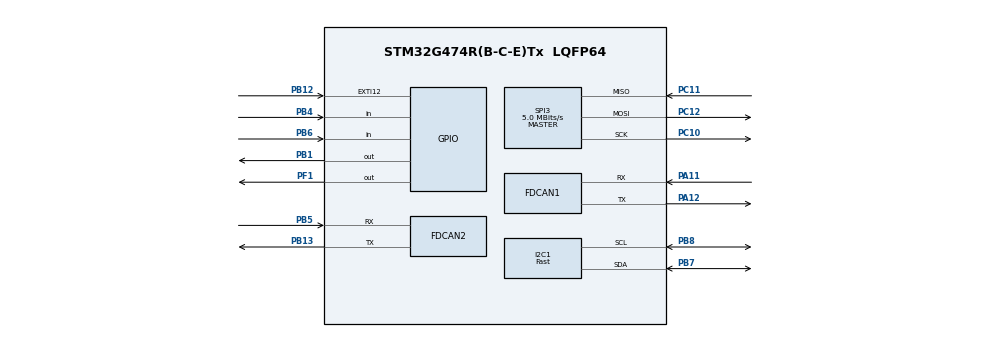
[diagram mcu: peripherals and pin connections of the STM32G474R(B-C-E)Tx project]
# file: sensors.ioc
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CRC.DefaultPolynomialUse=DEFAULT_POLYNOMIAL_ENABLE
FDCAN1.CalculateBaudRateNominal=3333333
FDCAN1.CalculateTimeBitNominal=300
FDCAN1.CalculateTimeQuantumNominal=100.0
FDCAN2.CalculateBaudRateNominal=3333333
FDCAN2.CalculateTimeBitNominal=300
FDCAN2.CalculateTimeQuantumNominal=100.0
I2C1.I2C_Speed_Mode=I2C_Fast
I2C1.Timing=0x10F32A82
Mcu.Family=STM32G4
Mcu.Name=STM32G474R(B-C-E)Tx
Mcu.Package=LQFP64
NVIC.PriorityGroup=NVIC_PRIORITYGROUP_4
NVIC.TIM1_UP_TIM16_IRQn=true\:15\:0\:false\:false\:true\:false\:true\:true
NVIC.TimeBase=TIM1_UP_TIM16_IRQn
NVIC.TimeBaseIP=TIM1
PA11.Mode=FDCAN_Activate
PA11.Signal=FDCAN1_RX
PA12.Mode=FDCAN_Activate
PA12.Signal=FDCAN1_TX
PA13.Mode=Trace_Asynchronous_SW
PA13.Signal=SYS_JTMS-SWDIO
PA14.Mode=Trace_Asynchronous_SW
PA14.Signal=SYS_JTCK-SWCLK
PB1.Signal=GPIO_Output
PB12.Signal=GPXTI12
PB13.Mode=FDCAN_Activate
PB13.Signal=FDCAN2_TX
PB3.Mode=Trace_Asynchronous_SW
PB3.Signal=SYS_JTDO-SWO
PB4.Signal=GPIO_Input
PB5.Mode=FDCAN_Activate
PB5.Signal=FDCAN2_RX
PB6.Signal=GPIO_Input
PB7.Mode=I2C
PB7.Signal=I2C1_SDA
PB8-BOOT0.Mode=I2C
PB8-BOOT0.Signal=I2C1_SCL
PC10.Mode=Full_Duplex_Master
PC10.Signal=SPI3_SCK
PC11.Mode=Full_Duplex_Master
PC11.Signal=SPI3_MISO
PC12.Mode=Full_Duplex_Master
PC12.Signal=SPI3_MOSI
PC8.Signal=I2C3_SCL
PC9.Signal=I2C3_SDA
PF0-OSC_IN.Mode=HSE-External-Clock-Source
PF0-OSC_IN.Signal=RCC_OSC_IN
PF1-OSC_OUT.Signal=GPIO_Output
ProjectManager.HeapSize=0x200
ProjectManager.StackSize=0x400
ProjectManager.TargetToolchain=CMake
RCC.ADC12Freq_Value=160000000
RCC.ADC345Freq_Value=160000000
RCC.AHBFreq_Value=160000000
RCC.APB1Freq_Value=160000000
RCC.APB1TimFreq_Value=160000000
RCC.APB2Freq_Value=160000000
RCC.APB2TimFreq_Value=160000000
RCC.CortexFreq_Value=160000000
RCC.EXTERNAL_CLOCK_VALUE=12288000
RCC.HCLKFreq_Value=160000000
RCC.HSE_VALUE=8000000
RCC.HSI48_VALUE=48000000
RCC.HSI_VALUE=16000000
RCC.I2C2CLockSelection=RCC_I2C2CLKSOURCE_SYSCLK
RCC.I2C3CLockSelection=RCC_I2C3CLKSOURCE_SYSCLK
RCC.I2C4CLockSelection=RCC_I2C4CLKSOURCE_SYSCLK
RCC.LSE_VALUE=32768
RCC.PLLN=40
RCC.PLLSourceVirtual=RCC_PLLSOURCE_HSE
RCC.SYSCLKFreq_VALUE=160000000
RCC.SYSCLKSource=RCC_SYSCLKSOURCE_PLLCLK
RCC.USBFreq_Value=160000000
RCC.VCOOutputFreq_Value=320000000
SPI3.BaudRatePrescaler=SPI_BAUDRATEPRESCALER_32
SPI3.CalculateBaudRate=5.0 MBits/s
SPI3.DataSize=SPI_DATASIZE_8BIT
SPI3.Direction=SPI_DIRECTION_2LINES
SPI3.Mode=SPI_MODE_MASTER
SPI3.VirtualType=VM_MASTER
VP_CRC_VS_CRC.Mode=CRC_Activate
VP_SYS_VS_DBSignals.Mode=DisableDeadBatterySignals
VP_SYS_VS_tim1.Mode=TIM1
board=custom

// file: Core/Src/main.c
/* USER CODE BEGIN Header */
/**
  ******************************************************************************
  * @file           : main.c
  * @brief          : Main program body
  ******************************************************************************
  * @attention
  *
  * Copyright (c) 2024 STMicroelectronics.
  * All rights reserved.
  *
  * This software is licensed under terms that can be found in the LICENSE file
  * in the root directory of this software component.
  * If no LICENSE file comes with this software, it is provided AS-IS.
  *
  ******************************************************************************
  */
/* USER CODE END Header */
#include "main.h"
#include "crc.h"
#include "fdcan.h"
#include "i2c.h"
#include "spi.h"
#include "gpio.h"

/* USER CODE BEGIN Includes */
#include <stdio.h>
#include <math.h>
// #include "VL53L4ED_api.h"
#include "Aspeed.h"
//#include "circularBuffer.h"
/* USER CODE END Includes */

/* USER CODE BEGIN PD */
#ifdef __GNUC__
#define PUTCHAR_PROTOTYPE int __io_putchar(int ch)
#else
#define PUTCHAR_PROTOTYPE int fputc(int ch, FILE *f)
#endif
/* USER CODE END PD */

/* USER CODE BEGIN PM */
PUTCHAR_PROTOTYPE
{
  ITM_SendChar(ch);
  return ch;
}
//CircularBuffer *cb;
/* USER CODE END PM */

/* USER CODE BEGIN PV */
// FDCAN_RxHeaderTypeDef RxHeader_FDCAN2;
/* USER CODE END PV */

void SystemClock_Config(void);

/* USER CODE BEGIN 0 */
/*
I2C2 - is meant for thermal sensor MLX90640 and is ran using DMA to offload CPU for calculations
     - still need to fully test but ideally implmentation is done

 */
/* USER CODE END 0 */

int main(void)
{

  /* USER CODE BEGIN 1 */
  //cb = circular_buffer_init(64, 68 * sizeof(uint8_t));
  /* USER CODE END 1 */

  /* MCU Configuration--------------------------------------------------------*/

  /* Reset of all peripherals, Initializes the Flash interface and the Systick. */
  HAL_Init();

  /* Configure the system clock */
  SystemClock_Config();

  /* Initialize all configured peripherals */
  MX_GPIO_Init();
  MX_CRC_Init();
  MX_FDCAN1_Init();
  MX_FDCAN2_Init();
  MX_I2C1_Init();
  MX_SPI3_Init();
  /* USER CODE BEGIN 2 */

  // HAL_FDCAN_Start(&hfdcan1);
  // HAL_FDCAN_Start(&hfdcan2);
  // HAL_FDCAN_ActivateNotification(&hfdcan1, FDCAN_IT_RX_FIFO0_NEW_MESSAGE, 0);
  // HAL_FDCAN_ActivateNotification(&hfdcan2, FDCAN_IT_RX_FIFO0_NEW_MESSAGE, 0);

  // static uint16_t eeMLX90640[832];
  // static paramsMLX90640 mlx90640;
  // #define MLX90640_ADDRESS 0x33<<1
  // MLX90640_DumpEE(MLX90640_ADDRESS, eeMLX90640);

  // MLX90640_ExtractParameters(eeMLX90640, &mlx90640);

  // MLX90640_SetRefreshRate(MLX90640_ADDRESS, 0x05);

  // MLX90640_SynchFrame(MLX90640_ADDRESS);
  //  MLX90640_SetRefreshRate(0x33, 0x05);
  /* USER CODE END 2 */

  /* Infinite loop */
  /* USER CODE BEGIN WHILE */
  HAL_GPIO_WritePin(GPIOB, GPIO_PIN_1, GPIO_PIN_RESET); //TOF_L_XSHUT_Pin
  HAL_GPIO_WritePin(GPIOF, GPIO_PIN_1, GPIO_PIN_RESET); //TOF_C_XSHUT_Pin
  HAL_Delay(100); // wait for 5ms to reset the device
  HAL_GPIO_WritePin(GPIOB, GPIO_PIN_1, GPIO_PIN_SET); //TOF_L_XSHUT_Pin
  HAL_GPIO_WritePin(GPIOF, GPIO_PIN_1, GPIO_PIN_SET); //TOF_C_XSHUT_Pin
  HAL_Delay(100); // wait for 5ms to power up the device
  float data[2] = {0};

  while (1)
  {
    // HAL_FDCAN_AddMessageToTxFifoQ(&hfdcan1, &TxHeader, TxData);
    // HAL_FDCAN_AddMessageToTxFifoQ(&hfdcan2, &TxHeader, TxData);
    /* USER CODE END WHILE */

    /* USER CODE BEGIN 3 */
    HAL_Delay(10);
    ASpeedRead(data);

    // printf("Pressure * 10000: %d, Temp * 100: %d\n", data[0] + 159, data[1]);
    float air_density = (101693.25)/(287.05*(data[1] + 273.15)); // p/(RT)
    float air_speed = sqrtf((2 * 6894.76 * (fabsf(data[0] + 0.0156f)))/air_density);
    int16_t lazy_air = (int16_t)(air_speed * 100);
    if(data[0] >= 0.0){
      printf("%d\n", (int16_t)(air_speed * 100));
    } else {
      printf("%d\n", -1 * (int16_t)(air_speed * 100));
    }
    // printf("%d\n", lazy_air);

  }
  /* USER CODE END 3 */
}

void SystemClock_Config(void)
{
  LL_FLASH_SetLatency(LL_FLASH_LATENCY_4);
  while(LL_FLASH_GetLatency() != LL_FLASH_LATENCY_4)
  {
  }
  LL_PWR_EnableRange1BoostMode();
  LL_RCC_HSE_EnableBypass();
  LL_RCC_HSE_Enable();
   /* Wait till HSE is ready */
  while(LL_RCC_HSE_IsReady() != 1)
  {
  }

  LL_RCC_PLL_ConfigDomain_SYS(LL_RCC_PLLSOURCE_HSE, LL_RCC_PLLM_DIV_1, 40, LL_RCC_PLLR_DIV_2);
  LL_RCC_PLL_EnableDomain_SYS();
  LL_RCC_PLL_Enable();
   /* Wait till PLL is ready */
  while(LL_RCC_PLL_IsReady() != 1)
  {
  }

  LL_RCC_SetSysClkSource(LL_RCC_SYS_CLKSOURCE_PLL);
  LL_RCC_SetAHBPrescaler(LL_RCC_SYSCLK_DIV_2);
   /* Wait till System clock is ready */
  while(LL_RCC_GetSysClkSource() != LL_RCC_SYS_CLKSOURCE_STATUS_PLL)
  {
  }

  /* Insure 1us transition state at intermediate medium speed clock*/
  for (__IO uint32_t i = (170 >> 1); i !=0; i--);

  /* Set AHB prescaler*/
  LL_RCC_SetAHBPrescaler(LL_RCC_SYSCLK_DIV_1);
  LL_RCC_SetAPB1Prescaler(LL_RCC_APB1_DIV_1);
  LL_RCC_SetAPB2Prescaler(LL_RCC_APB2_DIV_1);
  LL_SetSystemCoreClock(160000000);

   /* Update the time base */
  if (HAL_InitTick (TICK_INT_PRIORITY) != HAL_OK)
  {
    Error_Handler();
  }
}

/* USER CODE BEGIN 4 */
// void HAL_FDCAN_RxFifo0Callback(FDCAN_HandleTypeDef *hfdcan, uint32_t RxFifo0ITs)
// {
//   uint8_t RxData[64];
//   HAL_FDCAN_GetRxMessage(hfdcan, FDCAN_RX_FIFO0, &RxHeader_FDCAN2, RxData);
//   printf("got messgae\n");
//   //circularBufferPush(cb, RxData, sizeof(RxData));

// }
/* USER CODE END 4 */

void HAL_TIM_PeriodElapsedCallback(TIM_HandleTypeDef *htim)
{
  if (htim->Instance == TIM1) {
    HAL_IncTick();
  }
}

void Error_Handler(void)
{
  __disable_irq();
  while (1)
  {
  }
}
